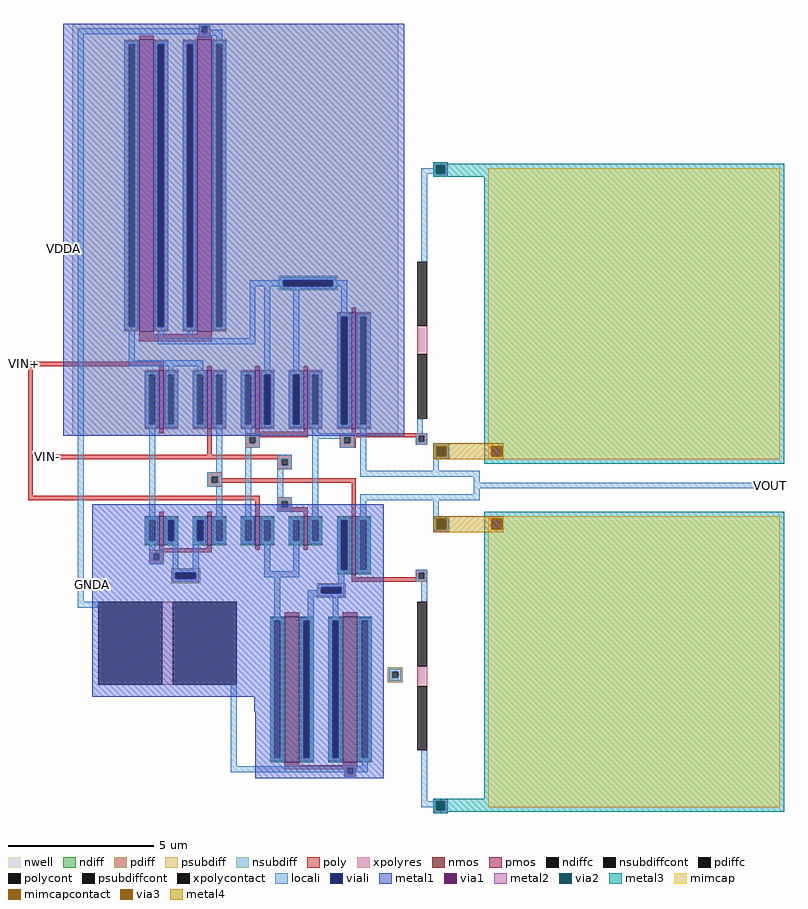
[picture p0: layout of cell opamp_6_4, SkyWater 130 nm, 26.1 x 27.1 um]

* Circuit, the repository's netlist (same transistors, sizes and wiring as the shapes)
* NGSPICE file created from opamp_6_4.ext - technology: sky130A

**.subckt opamp_6_4
X0 a_2700_n50# VIN- a_2130_1020# VDDA sky130_fd_pr__pfet_01v8 ad=1 pd=5 as=1 ps=5 w=2 l=0.15
X1 VDDA a_2930_n450# a_2930_n450# VDDA sky130_fd_pr__pfet_01v8 ad=1 pd=5 as=1 ps=5 w=2 l=0.15
X2 a_2700_n50# a_2270_n450# GNDA GNDA sky130_fd_pr__nfet_01v8 ad=0.5 pd=3 as=0.5 ps=3 w=1 l=0.15
X3 VOUT a_4140_1056# sky130_fd_pr__cap_mim_m3_1 l=10 w=10
X4 a_3390_n450# VIN- a_3060_n450# GNDA sky130_fd_pr__nfet_01v8 ad=0.5 pd=3 as=0.5 ps=3 w=1 l=0.15
X5 a_2460_n1410# a_2460_n1410# GNDA GNDA sky130_fd_pr__nfet_01v8 ad=2.5 pd=11 as=2.5 ps=11 w=5 l=0.5
X6 a_2130_1020# VIN+ a_2270_n450# VDDA sky130_fd_pr__pfet_01v8 ad=1 pd=5 as=1 ps=5 w=2 l=0.15
X7 a_3390_n450# a_2930_n450# VDDA VDDA sky130_fd_pr__pfet_01v8 ad=1 pd=5 as=1 ps=5 w=2 l=0.15
X8 a_4140_1056# a_3390_n450# GNDA sky130_fd_pr__res_xhigh_po_0p35 l=1.14
X9 a_1950_n1410# a_2460_n1410# GNDA sky130_fd_pr__res_xhigh_po_2p85 l=0.51
X10 a_2700_n50# a_4140_n1860# GNDA sky130_fd_pr__res_xhigh_po_0p35 l=0.86
X11 VOUT a_3390_n450# VDDA VDDA sky130_fd_pr__pfet_01v8 ad=2 pd=9 as=2 ps=9 w=4 l=0.15
X12 GNDA a_2460_n1410# a_3060_n450# GNDA sky130_fd_pr__nfet_01v8 ad=2.5 pd=11 as=2.5 ps=11 w=5 l=0.5
X13 a_3060_n450# VIN+ a_2930_n450# GNDA sky130_fd_pr__nfet_01v8 ad=0.5 pd=3 as=0.5 ps=3 w=1 l=0.15
X14 VDDA a_1950_n1410# a_2130_1020# VDDA sky130_fd_pr__pfet_01v8 ad=5 pd=21 as=5 ps=21 w=10 l=0.5
X15 a_1950_n1410# a_1950_n1410# VDDA VDDA sky130_fd_pr__pfet_01v8 ad=5 pd=21 as=5 ps=21 w=10 l=0.5
X16 VOUT a_4140_n1860# sky130_fd_pr__cap_mim_m3_1 l=10 w=10
X17 VOUT a_2700_n50# GNDA GNDA sky130_fd_pr__nfet_01v8 ad=1 pd=5 as=1 ps=5 w=2 l=0.15
X18 GNDA a_2270_n450# a_2270_n450# GNDA sky130_fd_pr__nfet_01v8 ad=0.5 pd=3 as=0.5 ps=3 w=1 l=0.15
.ends

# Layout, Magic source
magic
tech sky130A
<< nwell >>
rect 885 150 2005 1565
<< nmos >>
rect 1185 -225 1200 -125
rect 1350 -225 1365 -125
rect 1515 -225 1530 -125
rect 1680 -225 1695 -125
rect 1845 -325 1860 -125
rect 1615 -970 1665 -470
rect 1815 -970 1865 -470
<< pmos >>
rect 1115 510 1165 1510
rect 1315 510 1365 1510
rect 1185 175 1200 375
rect 1350 175 1365 375
rect 1515 175 1530 375
rect 1680 175 1695 375
rect 1845 175 1860 575
<< ndiff >>
rect 1135 -140 1185 -125
rect 1135 -210 1150 -140
rect 1170 -210 1185 -140
rect 1135 -225 1185 -210
rect 1200 -140 1250 -125
rect 1200 -210 1215 -140
rect 1235 -210 1250 -140
rect 1200 -225 1250 -210
rect 1300 -140 1350 -125
rect 1300 -210 1315 -140
rect 1335 -210 1350 -140
rect 1300 -225 1350 -210
rect 1365 -140 1415 -125
rect 1365 -210 1380 -140
rect 1400 -210 1415 -140
rect 1365 -225 1415 -210
rect 1465 -140 1515 -125
rect 1465 -210 1480 -140
rect 1500 -210 1515 -140
rect 1465 -225 1515 -210
rect 1530 -140 1580 -125
rect 1530 -210 1545 -140
rect 1565 -210 1580 -140
rect 1530 -225 1580 -210
rect 1630 -140 1680 -125
rect 1630 -210 1645 -140
rect 1665 -210 1680 -140
rect 1630 -225 1680 -210
rect 1695 -140 1745 -125
rect 1695 -210 1710 -140
rect 1730 -210 1745 -140
rect 1695 -225 1745 -210
rect 1795 -140 1845 -125
rect 1795 -310 1810 -140
rect 1830 -310 1845 -140
rect 1795 -325 1845 -310
rect 1860 -140 1910 -125
rect 1860 -310 1875 -140
rect 1895 -310 1910 -140
rect 1860 -325 1910 -310
rect 1565 -485 1615 -470
rect 1565 -955 1580 -485
rect 1600 -955 1615 -485
rect 1565 -970 1615 -955
rect 1665 -485 1715 -470
rect 1665 -955 1680 -485
rect 1700 -955 1715 -485
rect 1665 -970 1715 -955
rect 1765 -485 1815 -470
rect 1765 -955 1780 -485
rect 1800 -955 1815 -485
rect 1765 -970 1815 -955
rect 1865 -485 1915 -470
rect 1865 -955 1880 -485
rect 1900 -955 1915 -485
rect 1865 -970 1915 -955
<< pdiff >>
rect 1065 1495 1115 1510
rect 1065 525 1080 1495
rect 1100 525 1115 1495
rect 1065 510 1115 525
rect 1165 1495 1215 1510
rect 1165 525 1180 1495
rect 1200 525 1215 1495
rect 1165 510 1215 525
rect 1265 1495 1315 1510
rect 1265 525 1280 1495
rect 1300 525 1315 1495
rect 1265 510 1315 525
rect 1365 1495 1415 1510
rect 1365 525 1380 1495
rect 1400 525 1415 1495
rect 1365 510 1415 525
rect 1795 560 1845 575
rect 1135 360 1185 375
rect 1135 190 1150 360
rect 1170 190 1185 360
rect 1135 175 1185 190
rect 1200 360 1250 375
rect 1200 190 1215 360
rect 1235 190 1250 360
rect 1200 175 1250 190
rect 1300 360 1350 375
rect 1300 190 1315 360
rect 1335 190 1350 360
rect 1300 175 1350 190
rect 1365 360 1415 375
rect 1365 190 1380 360
rect 1400 190 1415 360
rect 1365 175 1415 190
rect 1465 360 1515 375
rect 1465 190 1480 360
rect 1500 190 1515 360
rect 1465 175 1515 190
rect 1530 360 1580 375
rect 1530 190 1545 360
rect 1565 190 1580 360
rect 1530 175 1580 190
rect 1630 360 1680 375
rect 1630 190 1645 360
rect 1665 190 1680 360
rect 1630 175 1680 190
rect 1695 360 1745 375
rect 1695 190 1710 360
rect 1730 190 1745 360
rect 1695 175 1745 190
rect 1795 190 1810 560
rect 1830 190 1845 560
rect 1795 175 1845 190
rect 1860 560 1910 575
rect 1860 190 1875 560
rect 1895 190 1910 560
rect 1860 175 1910 190
<< ndiffc >>
rect 1150 -210 1170 -140
rect 1215 -210 1235 -140
rect 1315 -210 1335 -140
rect 1380 -210 1400 -140
rect 1480 -210 1500 -140
rect 1545 -210 1565 -140
rect 1645 -210 1665 -140
rect 1710 -210 1730 -140
rect 1810 -310 1830 -140
rect 1875 -310 1895 -140
rect 1580 -955 1600 -485
rect 1680 -955 1700 -485
rect 1780 -955 1800 -485
rect 1880 -955 1900 -485
<< pdiffc >>
rect 1080 525 1100 1495
rect 1180 525 1200 1495
rect 1280 525 1300 1495
rect 1380 525 1400 1495
rect 1150 190 1170 360
rect 1215 190 1235 360
rect 1315 190 1335 360
rect 1380 190 1400 360
rect 1480 190 1500 360
rect 1545 190 1565 360
rect 1645 190 1665 360
rect 1710 190 1730 360
rect 1810 190 1830 560
rect 1875 190 1895 560
<< psubdiff >>
rect 1225 -320 1325 -305
rect 1225 -340 1240 -320
rect 1310 -340 1325 -320
rect 1225 -355 1325 -340
rect 1725 -370 1825 -355
rect 1725 -390 1740 -370
rect 1810 -390 1825 -370
rect 1725 -405 1825 -390
rect 1970 -660 2020 -645
rect 1970 -680 1985 -660
rect 2005 -680 2020 -660
rect 1970 -695 2020 -680
<< nsubdiff >>
rect 1595 685 1795 700
rect 1595 665 1610 685
rect 1780 665 1795 685
rect 1595 650 1795 665
<< psubdiffcont >>
rect 1240 -340 1310 -320
rect 1740 -390 1810 -370
rect 1985 -680 2005 -660
<< nsubdiffcont >>
rect 1610 665 1780 685
<< poly >>
rect 1320 1555 1360 1560
rect 1320 1535 1330 1555
rect 1350 1535 1360 1555
rect 1320 1525 1360 1535
rect 1115 1510 1165 1525
rect 1315 1510 1365 1525
rect 1845 575 1860 590
rect 1115 500 1165 510
rect 1315 500 1365 510
rect 1115 475 1365 500
rect 720 390 1200 405
rect 735 -55 750 390
rect 1185 375 1200 390
rect 1350 375 1365 390
rect 1515 375 1530 390
rect 1680 375 1695 390
rect 1185 160 1200 175
rect 1350 85 1365 175
rect 1515 165 1530 175
rect 1680 165 1695 175
rect 1515 160 1695 165
rect 1845 160 1860 175
rect 1480 145 1695 160
rect 1805 150 2105 160
rect 1805 145 2075 150
rect 1480 125 1495 145
rect 1515 125 1530 145
rect 1480 110 1530 125
rect 1805 125 1820 145
rect 1840 125 1860 145
rect 1805 110 1860 125
rect 2065 130 2075 145
rect 2095 130 2105 150
rect 2065 120 2105 130
rect 800 70 1640 85
rect 1590 50 1605 70
rect 1625 50 1640 70
rect 1590 35 1640 50
rect 1350 10 1400 25
rect 1350 -10 1365 10
rect 1385 5 1400 10
rect 1385 -10 1860 5
rect 1350 -25 1400 -10
rect 735 -70 1530 -55
rect 1185 -125 1200 -110
rect 1350 -125 1365 -110
rect 1515 -125 1530 -70
rect 1590 -75 1640 -60
rect 1590 -95 1605 -75
rect 1625 -95 1640 -75
rect 1590 -110 1695 -95
rect 1680 -125 1695 -110
rect 1845 -125 1860 -10
rect 1185 -235 1200 -225
rect 1350 -235 1365 -225
rect 1185 -240 1365 -235
rect 1515 -240 1530 -225
rect 1680 -240 1695 -225
rect 1150 -250 1365 -240
rect 1150 -255 1200 -250
rect 1150 -275 1165 -255
rect 1185 -275 1200 -255
rect 1150 -290 1200 -275
rect 2065 -320 2105 -310
rect 1845 -335 1860 -325
rect 2065 -335 2075 -320
rect 1845 -340 2075 -335
rect 2095 -340 2105 -320
rect 1845 -350 2105 -340
rect 1615 -470 1665 -455
rect 1815 -470 1865 -455
rect 1615 -980 1665 -970
rect 1815 -980 1865 -970
rect 1615 -990 1865 -980
rect 1615 -995 1830 -990
rect 1820 -1010 1830 -995
rect 1850 -995 1865 -990
rect 1850 -1010 1860 -995
rect 1820 -1020 1860 -1010
<< polycont >>
rect 1330 1535 1350 1555
rect 1495 125 1515 145
rect 1820 125 1840 145
rect 2075 130 2095 150
rect 1605 50 1625 70
rect 1365 -10 1385 10
rect 1605 -95 1625 -75
rect 1165 -275 1185 -255
rect 2075 -340 2095 -320
rect 1830 -1010 1850 -990
<< xpolycontact >>
rect 2070 528 2105 748
rect 2070 210 2105 430
rect 975 -705 1195 -420
rect 1230 -705 1450 -420
rect 2070 -640 2105 -420
rect 2070 -930 2105 -710
<< xpolyres >>
rect 2070 430 2105 528
rect 1195 -705 1230 -420
rect 2070 -710 2105 -640
<< locali >>
rect 1320 1555 1360 1560
rect 1320 1550 1330 1555
rect 905 1535 1330 1550
rect 1350 1545 1360 1555
rect 1350 1535 1400 1545
rect 905 1530 1400 1535
rect 905 -420 925 1530
rect 1320 1525 1400 1530
rect 1320 1520 1360 1525
rect 1380 1505 1400 1525
rect 1065 1495 1110 1505
rect 1065 525 1080 1495
rect 1100 525 1110 1495
rect 1065 515 1110 525
rect 1170 1495 1215 1505
rect 1170 525 1180 1495
rect 1200 525 1215 1495
rect 1170 515 1215 525
rect 1265 1495 1310 1505
rect 1265 525 1280 1495
rect 1300 525 1310 1495
rect 1265 515 1310 525
rect 1370 1495 1415 1505
rect 1370 525 1380 1495
rect 1400 525 1415 1495
rect 2125 1080 2175 1090
rect 2125 1070 2135 1080
rect 2085 1050 2135 1070
rect 2165 1050 2175 1080
rect 2085 748 2105 1050
rect 2125 1040 2175 1050
rect 1600 685 1790 695
rect 1370 515 1415 525
rect 1495 665 1610 685
rect 1780 665 1830 685
rect 1080 410 1100 515
rect 1180 485 1200 515
rect 1280 485 1300 515
rect 1495 485 1515 665
rect 1180 465 1515 485
rect 1080 390 1335 410
rect 1215 370 1235 390
rect 1315 370 1335 390
rect 1545 370 1565 665
rect 1600 655 1790 665
rect 1645 370 1665 655
rect 1810 570 1830 665
rect 1795 560 1840 570
rect 1135 360 1180 370
rect 1135 190 1150 360
rect 1170 190 1180 360
rect 1135 180 1180 190
rect 1205 360 1250 370
rect 1205 190 1215 360
rect 1235 190 1250 360
rect 1205 180 1250 190
rect 1300 360 1345 370
rect 1300 190 1315 360
rect 1335 190 1345 360
rect 1300 180 1345 190
rect 1370 360 1415 370
rect 1370 190 1380 360
rect 1400 190 1415 360
rect 1370 180 1415 190
rect 1465 360 1510 370
rect 1465 190 1480 360
rect 1500 190 1510 360
rect 1465 180 1510 190
rect 1535 360 1580 370
rect 1535 190 1545 360
rect 1565 190 1580 360
rect 1535 180 1580 190
rect 1630 360 1675 370
rect 1630 190 1645 360
rect 1665 190 1675 360
rect 1630 180 1675 190
rect 1700 360 1745 370
rect 1700 190 1710 360
rect 1730 190 1745 360
rect 1700 180 1745 190
rect 1795 190 1810 560
rect 1830 190 1840 560
rect 1795 180 1840 190
rect 1865 560 1910 570
rect 1865 190 1875 560
rect 1895 190 1910 560
rect 1865 180 1910 190
rect 1150 -130 1170 180
rect 1380 25 1400 180
rect 1350 10 1400 25
rect 1350 -10 1365 10
rect 1385 -10 1400 10
rect 1350 -25 1400 -10
rect 1380 -130 1400 -25
rect 1480 160 1500 180
rect 1710 160 1730 180
rect 1480 145 1530 160
rect 1480 125 1495 145
rect 1515 125 1530 145
rect 1480 110 1530 125
rect 1710 145 1855 160
rect 1710 140 1820 145
rect 1480 -130 1500 110
rect 1590 70 1640 85
rect 1590 50 1605 70
rect 1625 50 1640 70
rect 1590 35 1640 50
rect 1590 -60 1610 35
rect 1590 -75 1640 -60
rect 1590 -95 1605 -75
rect 1625 -95 1640 -75
rect 1590 -110 1640 -95
rect 1710 -130 1730 140
rect 1805 125 1820 140
rect 1840 125 1855 145
rect 1805 110 1855 125
rect 1875 30 1895 180
rect 2070 160 2090 210
rect 2065 150 2105 160
rect 2065 130 2075 150
rect 2095 130 2105 150
rect 2065 120 2105 130
rect 2125 115 2180 125
rect 2125 80 2135 115
rect 2170 80 2180 115
rect 2125 70 2180 80
rect 2125 30 2145 70
rect 1875 10 2285 30
rect 2265 -10 2285 10
rect 2265 -30 3285 -10
rect 2265 -50 2285 -30
rect 1875 -70 2285 -50
rect 1875 -130 1895 -70
rect 2125 -125 2145 -70
rect 1135 -140 1180 -130
rect 1135 -210 1150 -140
rect 1170 -210 1180 -140
rect 1135 -220 1180 -210
rect 1205 -140 1250 -130
rect 1205 -210 1215 -140
rect 1235 -210 1250 -140
rect 1205 -220 1250 -210
rect 1150 -240 1170 -220
rect 1150 -255 1200 -240
rect 1150 -275 1165 -255
rect 1185 -275 1200 -255
rect 1150 -290 1200 -275
rect 1230 -310 1250 -220
rect 1300 -140 1345 -130
rect 1300 -210 1315 -140
rect 1335 -210 1345 -140
rect 1300 -220 1345 -210
rect 1370 -140 1415 -130
rect 1370 -210 1380 -140
rect 1400 -210 1415 -140
rect 1370 -220 1415 -210
rect 1465 -140 1510 -130
rect 1465 -210 1480 -140
rect 1500 -210 1510 -140
rect 1465 -220 1510 -210
rect 1535 -140 1580 -130
rect 1535 -210 1545 -140
rect 1565 -210 1580 -140
rect 1535 -220 1580 -210
rect 1630 -140 1675 -130
rect 1630 -210 1645 -140
rect 1665 -210 1675 -140
rect 1630 -220 1675 -210
rect 1700 -140 1745 -130
rect 1700 -210 1710 -140
rect 1730 -210 1745 -140
rect 1700 -220 1745 -210
rect 1795 -140 1840 -130
rect 1300 -310 1320 -220
rect 1230 -320 1320 -310
rect 1230 -340 1240 -320
rect 1310 -340 1320 -320
rect 1545 -315 1565 -220
rect 1645 -315 1665 -220
rect 1545 -335 1665 -315
rect 1795 -310 1810 -140
rect 1830 -310 1840 -140
rect 1795 -320 1840 -310
rect 1865 -140 1910 -130
rect 1865 -310 1875 -140
rect 1895 -310 1910 -140
rect 2125 -135 2180 -125
rect 2125 -170 2135 -135
rect 2170 -170 2180 -135
rect 2125 -180 2180 -170
rect 1865 -320 1910 -310
rect 2065 -320 2105 -310
rect 1230 -350 1320 -340
rect 905 -440 975 -420
rect 1580 -475 1600 -335
rect 1800 -360 1820 -320
rect 2065 -340 2075 -320
rect 2095 -340 2105 -320
rect 2065 -350 2105 -340
rect 1730 -370 1820 -360
rect 1730 -380 1740 -370
rect 1695 -390 1740 -380
rect 1810 -390 1820 -370
rect 1695 -400 1820 -390
rect 1695 -475 1715 -400
rect 1780 -475 1800 -400
rect 2085 -420 2105 -350
rect 1430 -985 1450 -705
rect 1565 -485 1610 -475
rect 1565 -955 1580 -485
rect 1600 -955 1610 -485
rect 1565 -965 1610 -955
rect 1670 -485 1715 -475
rect 1670 -955 1680 -485
rect 1700 -955 1715 -485
rect 1670 -965 1715 -955
rect 1765 -485 1810 -475
rect 1765 -955 1780 -485
rect 1800 -955 1810 -485
rect 1765 -965 1810 -955
rect 1870 -485 1915 -475
rect 1870 -955 1880 -485
rect 1900 -955 1915 -485
rect 1975 -660 2015 -650
rect 1975 -680 1985 -660
rect 2005 -680 2015 -660
rect 1975 -690 2015 -680
rect 1870 -965 1915 -955
rect 1820 -985 1860 -980
rect 1880 -985 1900 -965
rect 1430 -990 1900 -985
rect 1430 -1005 1830 -990
rect 1820 -1010 1830 -1005
rect 1850 -1005 1900 -990
rect 1850 -1010 1860 -1005
rect 1820 -1020 1860 -1010
rect 2085 -1105 2105 -930
rect 2125 -1105 2175 -1095
rect 2085 -1125 2135 -1105
rect 2125 -1135 2135 -1125
rect 2165 -1135 2175 -1105
rect 2125 -1145 2175 -1135
<< viali >>
rect 1180 525 1200 1495
rect 1280 525 1300 1495
rect 2135 1050 2165 1080
rect 1610 665 1780 685
rect 1545 190 1565 360
rect 1645 190 1665 360
rect 1810 190 1830 560
rect 2135 80 2170 115
rect 1215 -210 1235 -140
rect 1315 -210 1335 -140
rect 1240 -340 1310 -320
rect 1810 -310 1830 -140
rect 2135 -170 2170 -135
rect 1740 -390 1810 -370
rect 1680 -955 1700 -485
rect 1780 -955 1800 -485
rect 2135 -1135 2165 -1105
<< metal1 >>
rect 855 1495 2025 1565
rect 855 525 1180 1495
rect 1200 525 1280 1495
rect 1300 685 2025 1495
rect 2125 1080 2175 1090
rect 2125 1050 2135 1080
rect 2165 1050 2175 1080
rect 2125 1040 2175 1050
rect 1300 665 1610 685
rect 1780 665 2025 685
rect 1300 560 2025 665
rect 1300 525 1810 560
rect 855 360 1810 525
rect 855 190 1545 360
rect 1565 190 1645 360
rect 1665 190 1810 360
rect 1830 190 2025 560
rect 855 150 2025 190
rect 2125 115 2180 125
rect 2125 80 2135 115
rect 2170 80 2180 115
rect 2125 70 2180 80
rect 955 -140 1955 -85
rect 955 -210 1215 -140
rect 1235 -210 1315 -140
rect 1335 -210 1810 -140
rect 955 -310 1810 -210
rect 1830 -310 1955 -140
rect 2125 -135 2180 -125
rect 2125 -170 2135 -135
rect 2170 -170 2180 -135
rect 2125 -180 2180 -170
rect 955 -320 1955 -310
rect 955 -340 1240 -320
rect 1310 -340 1955 -320
rect 955 -370 1955 -340
rect 955 -390 1740 -370
rect 1810 -390 1955 -370
rect 955 -485 1955 -390
rect 955 -745 1680 -485
rect 1510 -795 1680 -745
rect 1515 -955 1680 -795
rect 1700 -955 1780 -485
rect 1800 -955 1955 -485
rect 1515 -1025 1955 -955
rect 2125 -1105 2175 -1095
rect 2125 -1135 2135 -1105
rect 2165 -1135 2175 -1105
rect 2125 -1145 2175 -1135
<< via1 >>
rect 2135 1050 2165 1080
rect 2135 80 2170 115
rect 2135 -170 2170 -135
rect 2135 -1135 2165 -1105
<< metal2 >>
rect 2125 1080 2175 1090
rect 2125 1050 2135 1080
rect 2165 1050 2175 1080
rect 2125 1040 2175 1050
rect 2125 115 2180 125
rect 2125 80 2135 115
rect 2170 80 2180 115
rect 2125 70 2180 80
rect 2125 -135 2180 -125
rect 2125 -170 2135 -135
rect 2170 -170 2180 -135
rect 2125 -180 2180 -170
rect 2125 -1105 2175 -1095
rect 2125 -1135 2135 -1105
rect 2165 -1135 2175 -1105
rect 2125 -1145 2175 -1135
<< via2 >>
rect 2135 1050 2165 1080
rect 2135 80 2170 115
rect 2135 -170 2170 -135
rect 2135 -1135 2165 -1105
<< metal3 >>
rect 2125 1085 2175 1090
rect 2125 1080 3330 1085
rect 2125 1050 2135 1080
rect 2165 1050 3330 1080
rect 2125 1040 3330 1050
rect 2125 115 2180 125
rect 2125 80 2135 115
rect 2170 80 2180 115
rect 2125 70 2180 80
rect 2300 55 3330 1040
rect 2125 -135 2180 -125
rect 2125 -170 2135 -135
rect 2170 -170 2180 -135
rect 2125 -180 2180 -170
rect 2300 -1095 3330 -110
rect 2125 -1105 3330 -1095
rect 2125 -1135 2135 -1105
rect 2165 -1135 3330 -1105
rect 2125 -1140 3330 -1135
rect 2125 -1145 2175 -1140
<< via3 >>
rect 2135 80 2170 115
rect 2135 -170 2170 -135
<< mimcap >>
rect 2315 115 3315 1070
rect 2315 80 2325 115
rect 2360 80 3315 115
rect 2315 70 3315 80
rect 2315 -135 3315 -125
rect 2315 -170 2325 -135
rect 2360 -170 3315 -135
rect 2315 -1125 3315 -170
<< mimcapcontact >>
rect 2325 80 2360 115
rect 2325 -170 2360 -135
<< metal4 >>
rect 2125 115 2365 125
rect 2125 80 2135 115
rect 2170 80 2325 115
rect 2360 80 2365 115
rect 2125 70 2365 80
rect 2125 -135 2365 -125
rect 2125 -170 2135 -135
rect 2170 -170 2325 -135
rect 2360 -170 2365 -135
rect 2125 -180 2365 -170
<< labels >>
flabel metal1 855 795 855 795 7 FreeSans 400 0 0 0 VDDA
flabel metal1 955 -360 955 -360 7 FreeSans 400 0 0 0 GNDA
flabel locali 3285 -20 3285 -20 3 FreeSans 400 0 0 0 VOUT
flabel poly 800 80 800 80 7 FreeSans 400 0 0 0 VIN-
flabel poly 720 400 720 400 7 FreeSans 400 0 0 0 VIN+
<< end >>
